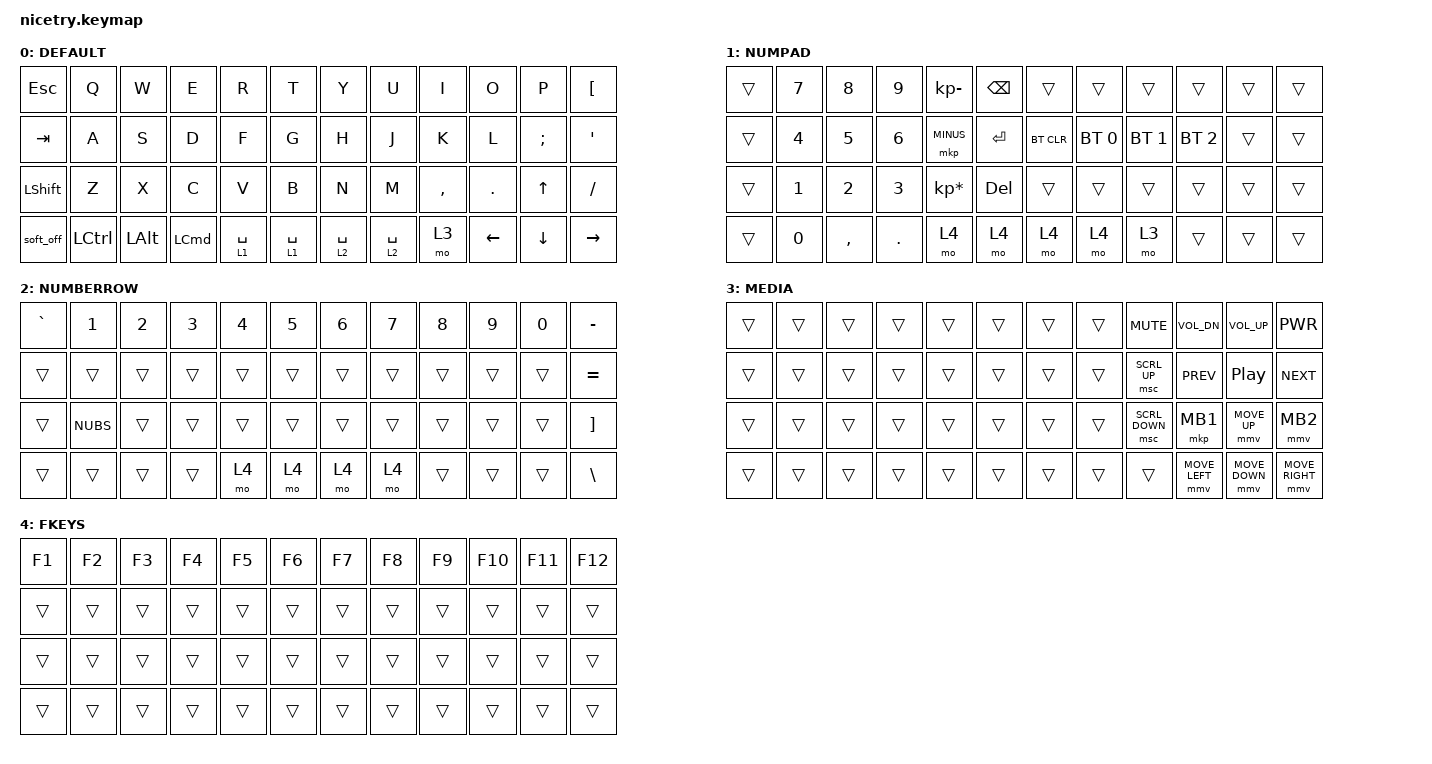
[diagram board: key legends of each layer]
#include <behaviors.dtsi>
#include <dt-bindings/zmk/keys.h>
#include <dt-bindings/zmk/bt.h>
#include <dt-bindings/zmk/pointing.h>

/ {
    keymap {
        compatible = "zmk,keymap";

        DEFAULT {
            bindings = <
                &kp ESC     &kp Q       &kp W       &kp E       &kp R       &kp T            &kp Y       &kp U       &kp I       &kp O       &kp P       &kp LBKT
                &kp TAB     &kp A       &kp S       &kp D       &kp F       &kp G            &kp H       &kp J       &kp K       &kp L       &kp SEMI    &kp APOS
                &kp LSHFT   &kp Z       &kp X       &kp C       &kp V       &kp B            &kp N       &kp M       &kp COMMA   &kp DOT     &kp UP      &kp SLASH
                &soft_off   &kp LCTRL   &kp LALT    &kp LCMD    &lt 1 SPACE &lt 1 SPACE      &lt 2 SPACE &lt 2 SPACE &mo 3       &kp LEFT    &kp DOWN    &kp RIGHT
            >;
        };
        NUMPAD {
            bindings = <
                &trans      &kp N7      &kp N8      &kp N9      &kp KP_MINUS    &kp BSPC         &trans      &trans       &trans       &trans       &trans      &trans
                &trans      &kp N4      &kp N5      &kp N6      &mkp MINUS      &kp RET          &bt BT_CLR  &bt BT_SEL 0 &bt BT_SEL 1 &bt BT_SEL 2 &trans      &trans
                &trans      &kp N1      &kp N2      &kp N3      &kp KP_MULTIPLY &kp DEL          &trans      &trans       &trans       &trans       &trans      &trans
                &trans      &kp N0      &kp COMMA   &kp DOT     &mo 4           &mo 4            &mo 4       &mo 4        &mo 3        &trans       &trans      &trans
            >;
        };

        NUMBERROW {
            bindings = <
                &kp GRAVE   &kp N1      &kp N2      &kp N3      &kp N4      &kp N5           &kp N6      &kp N7      &kp N8      &kp N9      &kp N0      &kp MINUS
                &trans      &trans      &trans      &trans      &trans      &trans           &trans      &trans      &trans      &trans      &trans      &kp EQUAL
                &trans      &kp NUBS    &trans      &trans      &trans      &trans           &trans      &trans      &trans      &trans      &trans      &kp RBKT
                &trans      &trans      &trans      &trans      &mo 4       &mo 4            &mo 4       &mo 4       &trans      &trans      &trans      &kp BSLH
            >;
        };

        MEDIA {
            bindings = <
                &trans      &trans      &trans      &trans      &trans      &trans           &trans      &trans      &kp C_MUTE  &kp C_VOL_DN &kp C_VOL_UP &kp C_PWR
                &trans      &trans      &trans      &trans      &trans      &trans           &trans      &trans      &msc SCRL_UP &kp C_PREV &kp C_PP     &kp C_NEXT
                &trans      &trans      &trans      &trans      &trans      &trans           &trans      &trans      &msc SCRL_DOWN &mkp MB1 &mmv MOVE_UP   &mmv MB2
                &trans      &trans      &trans      &trans      &trans      &trans           &trans      &trans      &trans      &mmv MOVE_LEFT &mmv MOVE_DOWN &mmv MOVE_RIGHT
            >;
        };

        FKEYS {
            bindings = <
                &kp F1      &kp F2      &kp F3      &kp F4      &kp F5      &kp F6           &kp F7      &kp F8      &kp F9      &kp F10     &kp F11     &kp F12
                &trans      &trans      &trans      &trans      &trans      &trans           &trans      &trans      &trans      &trans      &trans      &trans
                &trans      &trans      &trans      &trans      &trans      &trans           &trans      &trans      &trans      &trans      &trans      &trans
                &trans      &trans      &trans      &trans      &trans      &trans           &trans      &trans      &trans      &trans      &trans      &trans
            >;

        };
    };
};
